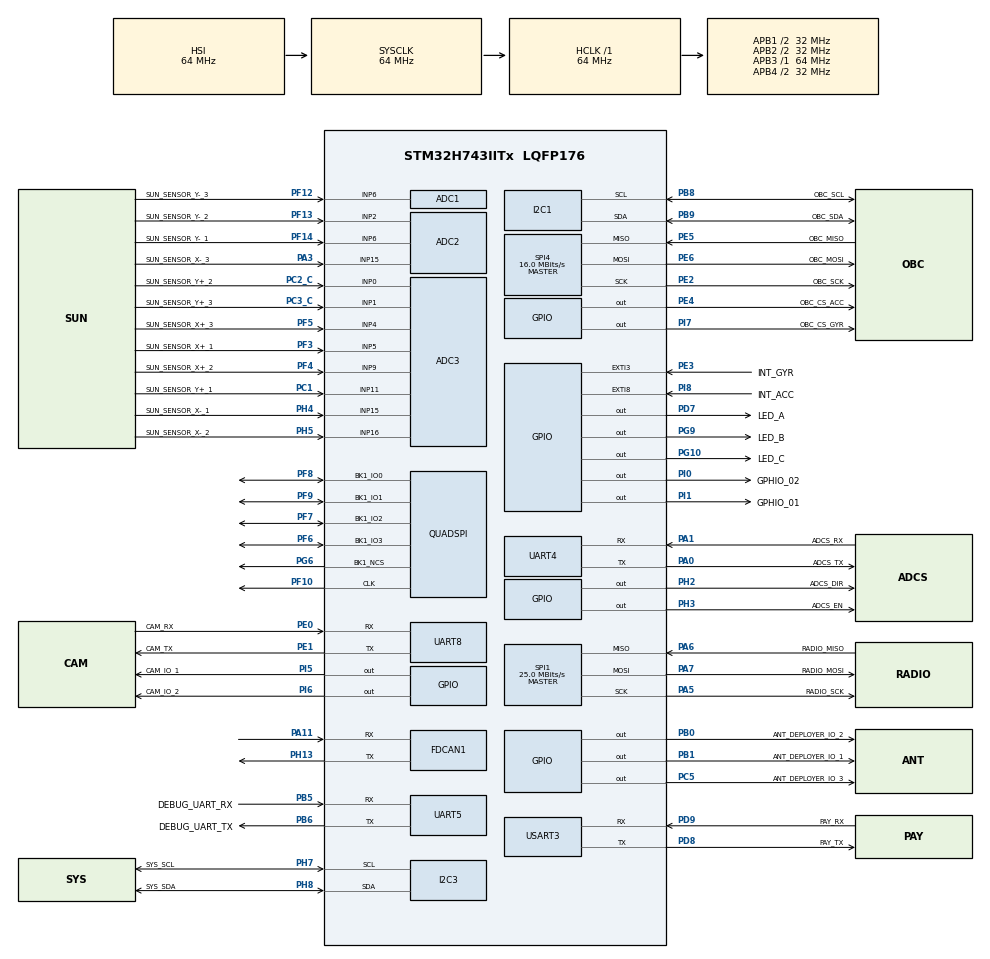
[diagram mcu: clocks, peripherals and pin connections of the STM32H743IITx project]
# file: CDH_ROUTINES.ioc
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ADC1.Channel-3\#ChannelRegularConversion=ADC_CHANNEL_6
ADC1.ClockPrescaler=ADC_CLOCK_ASYNC_DIV4
ADC1.NbrOfConversionFlag=1
ADC1.OffsetNumber-3\#ChannelRegularConversion=ADC_OFFSET_NONE
ADC1.OffsetSignedSaturation-3\#ChannelRegularConversion=DISABLE
ADC1.Rank-3\#ChannelRegularConversion=1
ADC1.SamplingTime-3\#ChannelRegularConversion=ADC_SAMPLETIME_1CYCLE_5
ADC1.master=1
ADC2.Channel-3\#ChannelRegularConversion=ADC_CHANNEL_2
ADC2.ClockPrescaler=ADC_CLOCK_ASYNC_DIV4
ADC2.NbrOfConversionFlag=1
ADC2.OffsetNumber-3\#ChannelRegularConversion=ADC_OFFSET_NONE
ADC2.OffsetSignedSaturation-3\#ChannelRegularConversion=DISABLE
ADC2.Rank-3\#ChannelRegularConversion=1
ADC2.SamplingTime-3\#ChannelRegularConversion=ADC_SAMPLETIME_1CYCLE_5
ADC3.Channel-0\#ChannelRegularConversion=ADC_CHANNEL_4
ADC3.ClockPrescaler=ADC_CLOCK_ASYNC_DIV4
ADC3.NbrOfConversionFlag=1
ADC3.OffsetNumber-0\#ChannelRegularConversion=ADC_OFFSET_NONE
ADC3.OffsetSignedSaturation-0\#ChannelRegularConversion=DISABLE
ADC3.Rank-0\#ChannelRegularConversion=1
ADC3.SamplingTime-0\#ChannelRegularConversion=ADC_SAMPLETIME_1CYCLE_5
FDCAN1.CalculateBaudRateNominal=250000
FDCAN1.CalculateTimeBitNominal=4000
FDCAN1.CalculateTimeQuantumNominal=500.0
FDCAN1.DataPrescaler=25
FDCAN1.DataTimeSeg1=6
FDCAN1.NominalPrescaler=25
FDCAN1.NominalTimeSeg1=6
FDCAN1.NominalTimeSeg2=1
FDCAN1.RxFifo0ElmtsNbr=1
FDCAN1.StdFiltersNbr=1
FDCAN1.TxFifoQueueElmtsNbr=1
I2C1.Timing=0x00707CBB
I2C3.Timing=0x00707CBB
Mcu.Family=STM32H7
Mcu.Name=STM32H743IITx
Mcu.Package=LQFP176
NVIC.FDCAN1_IT0_IRQn=true\:0\:0\:false\:false\:true\:true\:true\:true
NVIC.PriorityGroup=NVIC_PRIORITYGROUP_4
PA0.GPIO_Label=ADCS_TX
PA0.Mode=Asynchronous
PA0.Signal=UART4_TX
PA1.GPIO_Label=ADCS_RX
PA1.Mode=Asynchronous
PA1.Signal=UART4_RX
PA11.Mode=FDCAN_Activate
PA11.Signal=FDCAN1_RX
PA13\ (JTMS/SWDIO).GPIO_Label=SWDIO
PA13\ (JTMS/SWDIO).Mode=Trace_Asynchronous_SW
PA13\ (JTMS/SWDIO).Signal=DEBUG_JTMS-SWDIO
PA14\ (JTCK/SWCLK).GPIO_Label=SWCLK
PA14\ (JTCK/SWCLK).Mode=Trace_Asynchronous_SW
PA14\ (JTCK/SWCLK).Signal=DEBUG_JTCK-SWCLK
PA2.GPIO_Label=ADCS_PWM
PA2.Signal=S_TIM2_CH3
PA3.GPIO_Label=SUN_SENSOR_X-_3
PA3.Signal=ADCx_INP15
PA5.GPIO_Label=RADIO_SCK
PA5.Mode=Full_Duplex_Master
PA5.Signal=SPI1_SCK
PA6.GPIO_Label=RADIO_MISO
PA6.Mode=Full_Duplex_Master
PA6.Signal=SPI1_MISO
PA7.GPIO_Label=RADIO_MOSI
PA7.Mode=Full_Duplex_Master
PA7.Signal=SPI1_MOSI
PB0.GPIO_Label=ANT_DEPLOYER_IO_2
PB0.Signal=GPIO_Output
PB1.GPIO_Label=ANT_DEPLOYER_IO_1
PB1.Signal=GPIO_Output
PB12.Signal=SPI2_NSS
PB13.GPIO_Label=SYS_SCK
PB13.Signal=SPI2_SCK
PB14.GPIO_Label=SYS_MISO
PB14.Signal=SPI2_MISO
PB15.GPIO_Label=SYS_MOSI
PB15.Signal=SPI2_MOSI
PB3\ (JTDO/TRACESWO).GPIO_Label=SWO
PB3\ (JTDO/TRACESWO).Mode=Trace_Asynchronous_SW
PB3\ (JTDO/TRACESWO).Signal=DEBUG_JTDO-SWO
PB5.GPIO_Label=DEBUG_UART_RX
PB5.Mode=Asynchronous
PB5.Signal=UART5_RX
PB6.GPIO_Label=DEBUG_UART_TX
PB6.Mode=Asynchronous
PB6.Signal=UART5_TX
PB8.GPIO_Label=OBC_SCL
PB8.Mode=I2C
PB8.Signal=I2C1_SCL
PB9.GPIO_Label=OBC_SDA
PB9.Mode=I2C
PB9.Signal=I2C1_SDA
PC1.GPIO_Label=SUN_SENSOR_Y+_1
PC1.Signal=ADCx_INP11
PC10.Signal=SDMMC1_D2
PC11.Signal=SDMMC1_D3
PC12.Signal=SDMMC1_CK
PC14-OSC32_IN\ (OSC32_IN).Mode=LSE-External-Oscillator
PC14-OSC32_IN\ (OSC32_IN).Signal=RCC_OSC32_IN
PC15-OSC32_OUT\ (OSC32_OUT).Mode=LSE-External-Oscillator
PC15-OSC32_OUT\ (OSC32_OUT).Signal=RCC_OSC32_OUT
PC2_C.GPIO_Label=SUN_SENSOR_Y+_2
PC2_C.Mode=IN0-Single-Ended
PC2_C.Signal=ADC3_INP0
PC3_C.GPIO_Label=SUN_SENSOR_Y+_3
PC3_C.Mode=IN1-Single-Ended
PC3_C.Signal=ADC3_INP1
PC5.GPIO_Label=ANT_DEPLOYER_IO_3
PC5.Signal=GPIO_Output
PC8.Signal=SDMMC1_D0
PC9.Signal=SDMMC1_D1
PD2.Signal=SDMMC1_CMD
PD7.GPIO_Label=LED_A
PD7.PinState=GPIO_PIN_RESET
PD7.Signal=GPIO_Output
PD8.GPIO_Label=PAY_TX
PD8.Mode=Asynchronous
PD8.Signal=USART3_TX
PD9.GPIO_Label=PAY_RX
PD9.Mode=Asynchronous
PD9.Signal=USART3_RX
PE0.GPIO_Label=CAM_RX
PE0.Mode=Asynchronous
PE0.Signal=UART8_RX
PE1.GPIO_Label=CAM_TX
PE1.Mode=Asynchronous
PE1.Signal=UART8_TX
PE2.GPIO_Label=OBC_SCK
PE2.Mode=Full_Duplex_Master
PE2.Signal=SPI4_SCK
PE3.GPIO_Label=INT_GYR
PE3.Signal=GPXTI3
PE4.GPIO_Label=OBC_CS_ACC
PE4.Signal=GPIO_Output
PE5.GPIO_Label=OBC_MISO
PE5.Mode=Full_Duplex_Master
PE5.Signal=SPI4_MISO
PE6.GPIO_Label=OBC_MOSI
PE6.Mode=Full_Duplex_Master
PE6.Signal=SPI4_MOSI
PF10.Mode=Single Bank 1
PF10.Signal=QUADSPI_CLK
PF12.GPIO_Label=SUN_SENSOR_Y-_3
PF12.Mode=IN6-Single-Ended
PF12.Signal=ADC1_INP6
PF13.GPIO_Label=SUN_SENSOR_Y-_2
PF13.Mode=IN2-Single-Ended
PF13.Signal=ADC2_INP2
PF14.GPIO_Label=SUN_SENSOR_Y-_1
PF14.Mode=IN6-Single-Ended
PF14.Signal=ADC2_INP6
PF3.GPIO_Label=SUN_SENSOR_X+_1
PF3.Mode=IN5-Single-Ended
PF3.Signal=ADC3_INP5
PF4.GPIO_Label=SUN_SENSOR_X+_2
PF4.Mode=IN9-Single-Ended
PF4.Signal=ADC3_INP9
PF5.GPIO_Label=SUN_SENSOR_X+_3
PF5.Mode=IN4-Single-Ended
PF5.Signal=ADC3_INP4
PF6.Mode=Single Bank 1
PF6.Signal=QUADSPI_BK1_IO3
PF7.Mode=Single Bank 1
PF7.Signal=QUADSPI_BK1_IO2
PF8.Mode=Single Bank 1
PF8.Signal=QUADSPI_BK1_IO0
PF9.Mode=Single Bank 1
PF9.Signal=QUADSPI_BK1_IO1
PG10.GPIO_Label=LED_C
PG10.PinState=GPIO_PIN_RESET
PG10.Signal=GPIO_Output
PG6.Mode=Single Bank 1
PG6.Signal=QUADSPI_BK1_NCS
PG9.GPIO_Label=LED_B
PG9.PinState=GPIO_PIN_RESET
PG9.Signal=GPIO_Output
PH0-OSC_IN\ (PH0).Mode=HSE-External-Oscillator
PH0-OSC_IN\ (PH0).Signal=RCC_OSC_IN
PH1-OSC_OUT\ (PH1).Mode=HSE-External-Oscillator
PH1-OSC_OUT\ (PH1).Signal=RCC_OSC_OUT
PH11.GPIO_Label=PAY_SCL
PH11.Signal=I2C4_SCL
PH12.GPIO_Label=PAY_SDA
PH12.Signal=I2C4_SDA
PH13.Mode=FDCAN_Activate
PH13.Signal=FDCAN1_TX
PH2.GPIO_Label=ADCS_DIR
PH2.Signal=GPIO_Output
PH3.GPIO_Label=ADCS_EN
PH3.Signal=GPIO_Output
PH4.GPIO_Label=SUN_SENSOR_X-_1
PH4.Mode=IN15-Single-Ended
PH4.Signal=ADC3_INP15
PH5.GPIO_Label=SUN_SENSOR_X-_2
PH5.Mode=IN16-Single-Ended
PH5.Signal=ADC3_INP16
PH7.GPIO_Label=SYS_SCL
PH7.Mode=I2C
PH7.Signal=I2C3_SCL
PH8.GPIO_Label=SYS_SDA
PH8.Mode=I2C
PH8.Signal=I2C3_SDA
PI0.GPIO_Label=GPHIO_02
PI0.Signal=GPIO_Output
PI1.GPIO_Label=GPHIO_01
PI1.Signal=GPIO_Output
PI5.GPIO_Label=CAM_IO_1
PI5.Signal=GPIO_Output
PI6.GPIO_Label=CAM_IO_2
PI6.Signal=GPIO_Output
PI7.GPIO_Label=OBC_CS_GYR
PI7.Signal=GPIO_Output
PI8.GPIO_Label=INT_ACC
PI8.Signal=GPXTI8
ProjectManager.HeapSize=0x200
ProjectManager.StackSize=0x400
ProjectManager.TargetToolchain=STM32CubeIDE
QUADSPI.ClockPrescaler=1
QUADSPI.FifoThreshold=4
QUADSPI.FlashSize=26
QUADSPI.SampleShifting=QSPI_SAMPLE_SHIFTING_HALFCYCLE
RCC.ADCFreq_Value=75000000
RCC.APB1Freq_Value=32000000
RCC.APB2Freq_Value=32000000
RCC.APB3Freq_Value=64000000
RCC.APB4Freq_Value=32000000
RCC.CortexFreq_Value=64000000
RCC.D2PPRE1=RCC_APB1_DIV2
RCC.D2PPRE2=RCC_APB2_DIV2
RCC.D3PPRE=RCC_APB4_DIV2
RCC.DIVM1=1
RCC.DIVM2=1
RCC.DIVN1=9
RCC.DIVN2=9
RCC.DIVQ1=3
RCC.HCLKFreq_Value=64000000
RCC.HSE_VALUE=16000000
RCC.PLL2FRACN=3072
RCC.PLLFRACN=3072
RCC.PLLSourceVirtual=RCC_PLLSOURCE_HSE
RCC.SYSCLKFreq_VALUE=64000000
RCC.USBFreq_Value=50000000
SH.ADCx_INP11.0=ADC3_INP11,IN11-Single-Ended
SH.ADCx_INP15.0=ADC2_INP15,IN15-Single-Ended
SH.S_TIM2_CH3.0=TIM2_CH3
SPI1.CalculateBaudRate=25.0 MBits/s
SPI1.Direction=SPI_DIRECTION_2LINES
SPI1.Mode=SPI_MODE_MASTER
SPI1.VirtualType=VM_MASTER
SPI4.CalculateBaudRate=16.0 MBits/s
SPI4.Direction=SPI_DIRECTION_2LINES
SPI4.Mode=SPI_MODE_MASTER
SPI4.VirtualType=VM_MASTER
USART3.VirtualMode-Asynchronous=VM_ASYNC
VP_MEMORYMAP_VS_MEMORYMAP.Mode=CurAppReg
board=custom

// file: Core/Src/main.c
/* USER CODE BEGIN Header */
/**
  ******************************************************************************
  * @file           : main.c
  * @brief          : Main program body
  ******************************************************************************
  * @attention
  *
  * Copyright (c) 2025 STMicroelectronics.
  * All rights reserved.
  *
  * This software is licensed under terms that can be found in the LICENSE file
  * in the root directory of this software component.
  * If no LICENSE file comes with this software, it is provided AS-IS.
  *
  ******************************************************************************
  */
/* USER CODE END Header */
#include "main.h"
#include "adc.h"
#include "fdcan.h"
#include "i2c.h"
#include "quadspi.h"
#include "spi.h"
#include "usart.h"
#include "gpio.h"

/* USER CODE BEGIN Includes */
#include "SolarTracker.h"
#include "can_driver.h"
#include "can_protocol.h"
#include "uart_protocol.h"
#include "adcs.h"
#include "antena.h"
/* USER CODE END Includes */

/* USER CODE BEGIN PV */
SolarTracker_t satelite;
int16_t velo = 0;
/* USER CODE END PV */

void SystemClock_Config(void);
void PeriphCommonClock_Config(void);

int main(void)
{

  /* MCU Configuration--------------------------------------------------------*/

  /* Reset of all peripherals, Initializes the Flash interface and the Systick. */
  HAL_Init();

  /* Configure the system clock */
  SystemClock_Config();

  /* Configure the peripherals common clocks */
  PeriphCommonClock_Config();

  /* Initialize all configured peripherals */
  MX_GPIO_Init();
  MX_ADC1_Init();
  MX_ADC2_Init();
  MX_ADC3_Init();
  MX_I2C1_Init();
  MX_FDCAN1_Init();
  MX_UART5_Init();
  MX_QUADSPI_Init();
  MX_I2C3_Init();
  MX_SPI4_Init();
  MX_SPI1_Init();
  MX_UART4_Init();
  MX_UART8_Init();
  MX_USART3_UART_Init();
  /* USER CODE BEGIN 2 */
  //CAN_Init();
  //CAN_Protocol_Init();
  //HAL_Delay(10);  // Aguarda CAN estabilizar

  ADCS_Init(&huart4);  // Inicializa ADCS (motor SimpleFOC)
  HAL_Delay(10);

  // --- ADICIONADO: INICIALIZAÇÃO DO SOLAR TRACKER ---
  // Calibração dos ADCs para garantir precisão na leitura de luz
  if (HAL_ADCEx_Calibration_Start(&hadc2, ADC_CALIB_OFFSET, ADC_SINGLE_ENDED) != HAL_OK) Error_Handler();
  if (HAL_ADCEx_Calibration_Start(&hadc3, ADC_CALIB_OFFSET, ADC_SINGLE_ENDED) != HAL_OK) Error_Handler();

  // Inicializa a estrutura do satélite (zera variáveis e define calibração padrão)
  Solar_Init(&satelite);
  // --------------------------------------------------

  // Envia mensagem de boot (8 bytes)
  /*
  CAN_Message_t tx_msg = {
    .id = 0x6A5,
    .data = {0x01, 0x02, 0x03, 0x04, 0x05, 0x06, 0x07, 0x08}
  };
  CAN_Transmit(&tx_msg);
  */

  // Aguarda transmissão completar
  /* USER CODE END 2 */

  /* Infinite loop */
  /* USER CODE BEGIN WHILE */
  while (1)
  {

    // Teste rápido da UART_PROTOCOL na COM5
    UART_Message_t msg;
    msg.id = MSG_CMD_START_M2;
    msg.length = 3;
    msg.data[0] = 0xAA;
    msg.data[1] = 0xBB;
    msg.data[2] = 0xCC;
    UART_Transmit(&huart5, &msg, msg.length);

    // Aguarda o payload processar e responder (importante!)
    HAL_Delay(200);  // 200ms para dar tempo do Python processar

    Check_Payload_Response();

    // Nota: Esse delay de 2s vai fazer o SolarTracker atualizar a cada 2s.
    // Se precisar de resposta rápida do motor, diminua esse tempo.
//    ADCS_SetSpeed(&huart4, velo);

    // Primeira parte: aumentar a velocidade até 100
    while (velo <= 100) {
        ADCS_SetSpeed(&huart4, velo);
        velo += 15;
        HAL_Delay(3000);  // Atraso de 3 segundos
    }

    // Segunda parte: diminuir a velocidade até 0
    while (velo >= 0) {
        ADCS_SetSpeed(&huart4, velo);
        velo -= 15;
        HAL_Delay(3000);  // Atraso de 3 segundos
    }

    // Terceira parte: diminuir a velocidade até -100
    while (velo >= -100) {
        ADCS_SetSpeed(&huart4, velo);
        velo -= 15;
        HAL_Delay(3000);  // Atraso de 3 segundos
    }

    HAL_Delay(2000);

    // testa deploy da antena
    //Deploy_Antenna();

    /* ... (Seus blocos comentados de CAN permanecem aqui) ... */

    /* USER CODE END WHILE */

    /* USER CODE BEGIN 3 */

    // --- ADICIONADO: LÓGICA DO SOLAR TRACKER ---

    // 1. LEITURA DOS SENSORES (Polling ADC2 e ADC3)
    // Nota: A ordem depende do 'Rank' configurado no CubeMX, mas polling força a leitura sequencial se configurado corretamente.

    // Leitura ADC2 (Canais 0, 1, 2 da struct)
//    HAL_ADC_Start(&hadc2); HAL_ADC_PollForConversion(&hadc2, 10); satelite.adc_raw[0] = HAL_ADC_GetValue(&hadc2);
//    HAL_ADC_Start(&hadc2); HAL_ADC_PollForConversion(&hadc2, 10); satelite.adc_raw[1] = HAL_ADC_GetValue(&hadc2);
//    HAL_ADC_Start(&hadc2); HAL_ADC_PollForConversion(&hadc2, 10); satelite.adc_raw[2] = HAL_ADC_GetValue(&hadc2);

    // Leitura ADC3 (Canais 3 a 7 da struct)
//    HAL_ADC_Start(&hadc3); HAL_ADC_PollForConversion(&hadc3, 10); satelite.adc_raw[3] = HAL_ADC_GetValue(&hadc3);
//    HAL_ADC_Start(&hadc3); HAL_ADC_PollForConversion(&hadc3, 10); satelite.adc_raw[4] = HAL_ADC_GetValue(&hadc3);
//    HAL_ADC_Start(&hadc3); HAL_ADC_PollForConversion(&hadc3, 10); satelite.adc_raw[5] = HAL_ADC_GetValue(&hadc3);
//    HAL_ADC_Start(&hadc3); HAL_ADC_PollForConversion(&hadc3, 10); satelite.adc_raw[6] = HAL_ADC_GetValue(&hadc3);
//    HAL_ADC_Start(&hadc3); HAL_ADC_PollForConversion(&hadc3, 10); satelite.adc_raw[7] = HAL_ADC_GetValue(&hadc3);

    // 2. PROCESSAMENTO MATEMÁTICO
    // Calcula: Normalização -> Ângulo Solar -> Ação do Motor
//    Solar_Process(&satelite);

    // 3. ATUAÇÃO DO MOTOR (Exemplo de integração)
    // Aqui você conecta a lógica do tracker com seu driver de motor real

    /* Exemplo:
    if (satelite.acao_motor == 1) {
        // Enviar comando para girar Horário
    } else if (satelite.acao_motor == -1) {
        // Enviar comando para girar Anti-Horário
    } else {
        // Enviar comando para Parar
    }
    */

    // Debug: Você pode inspecionar 'satelite.angulo_solar_graus' no Live Watch do STM32CubeIDE.
    // -------------------------------------------
  }
  /* USER CODE END 3 */
}

void SystemClock_Config(void)
{
  RCC_OscInitTypeDef RCC_OscInitStruct = {0};
  RCC_ClkInitTypeDef RCC_ClkInitStruct = {0};

  /** Supply configuration update enable
  */
  HAL_PWREx_ConfigSupply(PWR_LDO_SUPPLY);

  /** Configure the main internal regulator output voltage
  */
  __HAL_PWR_VOLTAGESCALING_CONFIG(PWR_REGULATOR_VOLTAGE_SCALE3);

  while(!__HAL_PWR_GET_FLAG(PWR_FLAG_VOSRDY)) {}

  /** Initializes the RCC Oscillators according to the specified parameters
  * in the RCC_OscInitTypeDef structure.
  */
  RCC_OscInitStruct.OscillatorType = RCC_OSCILLATORTYPE_HSI|RCC_OSCILLATORTYPE_HSE;
  RCC_OscInitStruct.HSEState = RCC_HSE_ON;
  RCC_OscInitStruct.HSIState = RCC_HSI_DIV1;
  RCC_OscInitStruct.HSICalibrationValue = RCC_HSICALIBRATION_DEFAULT;
  RCC_OscInitStruct.PLL.PLLState = RCC_PLL_ON;
  RCC_OscInitStruct.PLL.PLLSource = RCC_PLLSOURCE_HSE;
  RCC_OscInitStruct.PLL.PLLM = 1;
  RCC_OscInitStruct.PLL.PLLN = 9;
  RCC_OscInitStruct.PLL.PLLP = 2;
  RCC_OscInitStruct.PLL.PLLQ = 3;
  RCC_OscInitStruct.PLL.PLLR = 2;
  RCC_OscInitStruct.PLL.PLLRGE = RCC_PLL1VCIRANGE_3;
  RCC_OscInitStruct.PLL.PLLVCOSEL = RCC_PLL1VCOMEDIUM;
  RCC_OscInitStruct.PLL.PLLFRACN = 3072;
  if (HAL_RCC_OscConfig(&RCC_OscInitStruct) != HAL_OK)
  {
    Error_Handler();
  }

  /** Initializes the CPU, AHB and APB buses clocks
  */
  RCC_ClkInitStruct.ClockType = RCC_CLOCKTYPE_HCLK|RCC_CLOCKTYPE_SYSCLK
                              |RCC_CLOCKTYPE_PCLK1|RCC_CLOCKTYPE_PCLK2
                              |RCC_CLOCKTYPE_D3PCLK1|RCC_CLOCKTYPE_D1PCLK1;
  RCC_ClkInitStruct.SYSCLKSource = RCC_SYSCLKSOURCE_HSI;
  RCC_ClkInitStruct.SYSCLKDivider = RCC_SYSCLK_DIV1;
  RCC_ClkInitStruct.AHBCLKDivider = RCC_HCLK_DIV1;
  RCC_ClkInitStruct.APB3CLKDivider = RCC_APB3_DIV1;
  RCC_ClkInitStruct.APB1CLKDivider = RCC_APB1_DIV2;
  RCC_ClkInitStruct.APB2CLKDivider = RCC_APB2_DIV2;
  RCC_ClkInitStruct.APB4CLKDivider = RCC_APB4_DIV2;

  if (HAL_RCC_ClockConfig(&RCC_ClkInitStruct, FLASH_LATENCY_1) != HAL_OK)
  {
    Error_Handler();
  }
}

void PeriphCommonClock_Config(void)
{
  RCC_PeriphCLKInitTypeDef PeriphClkInitStruct = {0};

  /** Initializes the peripherals clock
  */
  PeriphClkInitStruct.PeriphClockSelection = RCC_PERIPHCLK_ADC;
  PeriphClkInitStruct.PLL2.PLL2M = 1;
  PeriphClkInitStruct.PLL2.PLL2N = 9;
  PeriphClkInitStruct.PLL2.PLL2P = 2;
  PeriphClkInitStruct.PLL2.PLL2Q = 2;
  PeriphClkInitStruct.PLL2.PLL2R = 2;
  PeriphClkInitStruct.PLL2.PLL2RGE = RCC_PLL2VCIRANGE_3;
  PeriphClkInitStruct.PLL2.PLL2VCOSEL = RCC_PLL2VCOMEDIUM;
  PeriphClkInitStruct.PLL2.PLL2FRACN = 3072;
  PeriphClkInitStruct.AdcClockSelection = RCC_ADCCLKSOURCE_PLL2;
  if (HAL_RCCEx_PeriphCLKConfig(&PeriphClkInitStruct) != HAL_OK)
  {
    Error_Handler();
  }
}

void Error_Handler(void)
{
  __disable_irq();
  while (1)
  {
  }
}
